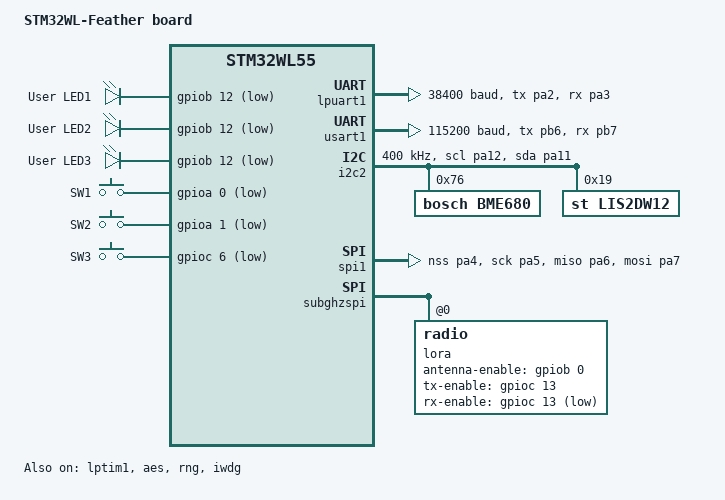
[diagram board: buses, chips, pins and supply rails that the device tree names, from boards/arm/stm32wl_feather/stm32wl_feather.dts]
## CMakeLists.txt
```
#
# Copyright 2021 PureEngineering, LLC
#

cmake_minimum_required(VERSION 3.13.1)
set (CMAKE_C_FLAGS "-fdiagnostics-color=always")

ADD_DEFINITIONS(-DNETWORK_CHANNEL=${NETWORK_CHANNEL})

# Re-direct the directory where the 'boards' directory is found from
# $ZEPHYR_BASE to this directory.
set(BOARD_ROOT ${CMAKE_CURRENT_LIST_DIR})

find_package(Zephyr HINTS $ENV{ZEPHYR_BASE})
project(wl55_demo)

FILE(GLOB_RECURSE app_sources
  src/*.c
)

target_include_directories(app PUBLIC ${CMAKE_CURRENT_SOURCE_DIR}/src/.)


target_sources(app PRIVATE ${app_sources}) 
```

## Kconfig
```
menu "STM32WL gateway firmware configuration"

config STM_GATEWAY_FW_VERSION_MAJOR
	int "STM32WL gateway firmware major version"
	default 1

config STM_GATEWAY_FW_VERSION_MINOR
	int "STM32WL gateway firmware minor version"
	default 0

config STM_GATEWAY_FW_VERSION_PATCH
	int "STM32WL gateway firmware patch version"
	default 0

endmenu

menu "Zephyr Kernel"
source "Kconfig.zephyr"
endmenu
```

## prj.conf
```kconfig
# CONFIG_SYSTEM_WORKQUEUE_STACK_SIZE=4096
# CONFIG_MAIN_STACK_SIZE=4096

CONFIG_SPI=y
CONFIG_GPIO=y
CONFIG_LORA=y
# CONFIG_I2C=y
CONFIG_PINCTRL=y
CONFIG_GPIO=y

CONFIG_LORA=y
CONFIG_LORA_SX12XX=y
CONFIG_PRINTK=y
CONFIG_REBOOT=y
CONFIG_NEWLIB_LIBC=y
CONFIG_NEWLIB_LIBC_FLOAT_PRINTF=y
CONFIG_SERIAL=y
CONFIG_UART_INTERRUPT_DRIVEN=y
CONFIG_STDOUT_CONSOLE=y
CONFIG_ENTROPY_GENERATOR=y
CONFIG_TEST_RANDOM_GENERATOR=y
CONFIG_MAIN_THREAD_PRIORITY=10

CONFIG_STM_GATEWAY_FW_VERSION_MAJOR=0
CONFIG_STM_GATEWAY_FW_VERSION_MINOR=1
CONFIG_STM_GATEWAY_FW_VERSION_PATCH=0

CONFIG_LOG=y
CONFIG_SENSOR=y
CONFIG_BME680=y
CONFIG_LIS2DW12=y
```

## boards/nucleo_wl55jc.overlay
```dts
/ {
	aliases {
		red-led = &green_led_3;
		green-led = &green_led_2;
		blue-led = &blue_led_1;
		system-led = &green_led_3;
		rpc-uart = &usart1;
		uart = &lpuart1;
	};
};

&usart1 {
	pinctrl-0 = <&usart1_tx_pb6 &usart1_rx_pb7>;
	pinctrl-names = "default";
	current-speed = <115200>;
	status = "okay";
};
```

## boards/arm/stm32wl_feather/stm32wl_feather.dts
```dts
/*
 * Copyright (c) 2021 PureEngineering, LLC
 *
 */

/dts-v1/;
#include <st/wl/stm32wl55Xc.dtsi>
#include <st/wl/stm32wl55ccux-pinctrl.dtsi>

/ {
	model = "STM32WL-Feather board";
	compatible = "st,stm32wl55-nucleo";

	chosen {
		zephyr,console = &usart1;
		zephyr,shell-uart = &usart1;
		zephyr,sram = &sram0;
		zephyr,flash = &flash0;
		zephyr,code-partition = &flash0;
	};

	leds {
		compatible = "gpio-leds";
		blue_led_1: led_0 {
			gpios = <&gpiob 12 GPIO_ACTIVE_LOW>;
			label = "User LED1";
		};
		green_led_2: led_1 {
			gpios = <&gpiob 12 GPIO_ACTIVE_LOW>;
			label = "User LED2";
		};
		green_led_3: led_2 {
			gpios = <&gpiob 12 GPIO_ACTIVE_LOW>;
			label = "User LED3";
		};
	};

	gpio_keys {
		compatible = "gpio-keys";
		user_button_1: button_0 {
			label = "SW1";
			gpios = <&gpioa 0 (GPIO_ACTIVE_LOW | GPIO_PULL_UP)>;
		};
		user_button_2: button_1 {
			label = "SW2";
			gpios = <&gpioa 1 (GPIO_ACTIVE_LOW | GPIO_PULL_UP)>;
		};
		user_button_3: button_2 {
			label = "SW3";
			gpios = <&gpioc 6 (GPIO_ACTIVE_LOW | GPIO_PULL_UP)>;
		};
	};

	aliases {
		led0 = &green_led_2;
		system-led = &green_led_2;
		sw0 = &user_button_1;
		sw1 = &user_button_2;
		sw2 = &user_button_3;
		lora0 = &lora;
		uart = &usart1;
	};

	power-states {
		stop0: state0 {
			compatible = "zephyr,power-state";
			power-state-name = "suspend-to-idle";
			substate-id = <1>;
			min-residency-us = <100>;
		};
		stop1: state1 {
			compatible = "zephyr,power-state";
			power-state-name = "suspend-to-idle";
			substate-id = <2>;
			min-residency-us = <500>;
		};
		stop2: state2 {
			compatible = "zephyr,power-state";
			power-state-name = "suspend-to-idle";
			substate-id = <3>;
			min-residency-us = <900>;
		};
	};
};

&cpu0 {
	cpu-power-states = <&stop0 &stop1 &stop2>;
};

&lptim1 {
	status = "okay";
};

&clk_hsi {
	status = "okay";
};

&pll {
	div-m = <1>;
	mul-n = <6>;
	div-r = <2>;
	div-q = <2>;
	clocks = <&clk_hsi>;
	status = "okay";
};

&rcc {
	clocks = <&pll>;
	clock-frequency = <DT_FREQ_M(48)>;
	cpu1-prescaler = <1>;
	cpu2-prescaler = <1>;
	ahb3-prescaler = <1>;
	apb1-prescaler = <1>;
	apb2-prescaler = <1>;
};

&lpuart1 {
	pinctrl-0 = <&lpuart1_tx_pa2 &lpuart1_rx_pa3>;
	pinctrl-names = "default";
	current-speed = <38400>;
	status = "okay";
};

&usart1 {
	pinctrl-0 = <&usart1_tx_pb6 &usart1_rx_pb7>;
	pinctrl-names = "default";
	current-speed = <115200>;
	status = "okay";
};

&i2c2 {
	pinctrl-0 = <&i2c2_scl_pa12 &i2c2_sda_pa11>;
	pinctrl-names = "default";
	status = "okay";
	clock-frequency = <I2C_BITRATE_FAST>;

	bme680: bme680@76 {
		compatible = "bosch,bme680";
		reg = <0x76>;
		label = "BME680";
		status = "okay";
	};
	lis2dw12: lis2dw12@19 {
		compatible = "st,lis2dw12";
		reg = <0x19>;
		label = "LIS2DW12";
		status = "okay";
	};

};

&spi1 {
	pinctrl-0 = <&spi1_nss_pa4 &spi1_sck_pa5
		     &spi1_miso_pa6 &spi1_mosi_pa7>;
	pinctrl-names = "default";
	status = "okay";
};

// &adc1 {
// 	status = "okay";
// };

// &die_temp {
// 	status = "okay";
// };

&aes {
	status = "okay";
};

&rng {
	status = "okay";
};

&iwdg {
	status = "okay";
};

&subghzspi {
	status = "okay";
	lora: radio@0 {
		status = "okay";
		antenna-enable-gpios = <&gpiob 0 GPIO_ACTIVE_HIGH>;
		tx-enable-gpios = <&gpioc 13 GPIO_ACTIVE_HIGH>;
		rx-enable-gpios = <&gpioc 13 GPIO_ACTIVE_LOW>;
		// dio3-tcxo-voltage = <SX126X_DIO3_TCXO_1V7>;
		// tcxo-power-startup-delay-ms = <5>;
	};
};

&flash0 {
	/*
	 * For more information, see:
	 * http://docs.zephyrproject.org/latest/guides/dts/index.html#flash-partitions
	 */
	partitions {
		compatible = "fixed-partitions";
		#address-cells = <1>;
		#size-cells = <1>;

		/*
		 * Set 16kB of storage (8x2kB pages) at the end of the 256kB of
		 * flash.
		 */
		storage_partition: partition@3c000 {
			label = "storage";
			reg = <0x0003c000 0x00004000>;
		};
	};
};
```

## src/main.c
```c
/*
 * Copyright (c) 2023 PureEngineering, LLC
 */

#include <stdio.h>
#include <stdlib.h>
#include <string.h>
#include <zephyr/kernel.h>
#include <zephyr/device.h>
#include <zephyr/drivers/uart.h>
#include <zephyr/drivers/lora.h>
#include <zephyr/drivers/gpio.h>
#include <zephyr/drivers/sensor.h>

#include "uart_driver.h"

#define MAX_LORA_DATA_LEN (255)
#define lora_thread_STACK_SIZE 2048
#define lora_thread_PRIORITY 7

#define LORA_RSSI_CLEAR_THRESHOLD -90
#define LORA_MAX_CTS_CHECK_MS 1000
#define LORA_MAX_WAIT_TX_DONE_MS 10000
#define LORA_MAX_POLL_TIME_MS 1000

#define LORA_FREQ 915100000


const struct gpio_dt_spec system_led = GPIO_DT_SPEC_GET_OR(DT_ALIAS(system_led), gpios, {0});
const struct device *uart_dev = DEVICE_DT_GET(DT_ALIAS(uart));
const struct device *lora_dev = DEVICE_DT_GET(DT_ALIAS(lora0));
static uart_struct uart_ctx;

static uint8_t uart_rx_buf[1024];
static uint8_t uart_tx_buf[1024];

// Simple queue to buffer messages that need to send
typedef struct
{
	uint8_t data[MAX_LORA_DATA_LEN];
	int length;
} lora_data_t;

typedef struct
{
	unsigned char *q;		  /* pointer to queue buffer*/
	volatile int read_index;  /* index used for reading */
	volatile int write_index; /* index used for writing */
	int p_size;				  /* size of index in queue */
	int size;				  /* max number of indexes */
} lora_queue_t;

void lora_queue_init(lora_queue_t *q, int queue_field_size, unsigned char queue_size)
{
	q->read_index = 0;
	q->write_index = 0;
	q->size = queue_size;
	q->p_size = queue_field_size;
	q->q = malloc(queue_field_size * queue_size);
}

int lora_queue_put(lora_queue_t *q, void *p)
{
	int nextindex = (q->write_index + 1) % q->size;
	if (nextindex != q->read_index)
	{
		int offset = nextindex * q->p_size;
		memcpy(q->q + offset, p, q->p_size);
		q->write_index = nextindex;
		return 1;
	}
	else
	{
		return 0; // queue is full
	}
}

int lora_queue_get(lora_queue_t *q, void *p)
{
	if (q->read_index == q->write_index)
	{
		return 0; // queue is empty
	}
	int nextindex = (q->read_index + 1) % q->size;
	int offset = nextindex * q->p_size;
	memcpy(p, q->q + offset, q->p_size);
	q->read_index = nextindex;
	return 1;
}

lora_queue_t lora_queue;

///

K_THREAD_STACK_DEFINE(lora_thread_stack_area, lora_thread_STACK_SIZE);
struct k_thread lora_thread_data;

int16_t lora_rssi = 0;

int lora_configure(uint32_t frequency)
{
	struct lora_modem_config config;
	int ret;
	/* Configure LoRa device */
	lora_dev = DEVICE_DT_GET(DT_ALIAS(lora0));
	if (!device_is_ready(lora_dev))
	{
		printk("%s Device not found\n", lora_dev->name);
		return -EIO;
	}
	else
	{
		config.frequency = frequency;
		config.bandwidth = BW_500_KHZ;
		config.datarate = SF_10;
		config.preamble_len = 32;
		config.coding_rate = CR_4_5;
		config.tx_power = 16;
		config.tx = true;
		ret = lora_config(lora_dev, &config);
		if (ret < 0)
		{
			printk("LoRa config failed %d\n", ret);
			return -EIO;
		}
		else
		{
			printk("LoRa config success\n");
		}
	}
	
	return 0;
}

int lora_rx_state = 0;

void lora_thread(void *unused1, void *unused2, void *unused3)
{
	printk("Started lora_thread\n");


	lora_data_t lora_data;
	int16_t rssi;
	int8_t snr;

	lora_configure(LORA_FREQ);

	lora_send(lora_dev, "hello lora world\n", 16);

	while (1)
	{
		k_yield();

		int length = 0;
		lora_rx_state = 1;
		if ((length = lora_recv(lora_dev, lora_data.data, MAX_LORA_DATA_LEN, K_MSEC(LORA_MAX_POLL_TIME_MS), &rssi, &snr)) > 0)
		{
			lora_data.length = length;
			gpio_pin_set(system_led.port, system_led.pin, 1);
			for (int i = 0; i < length; i++)
			{
				uart_poll_out(uart_dev, lora_data.data[i]);
			}
			gpio_pin_set(system_led.port, system_led.pin, 0);
		}

		lora_rx_state = 0;

		while (lora_queue_get(&lora_queue, &lora_data))
		{
			lora_send(lora_dev, lora_data.data, lora_data.length);
		}
	}
}


    
#define BME680_DEV_NAME DT_LABEL(DT_INST(0, bosch_bme680))

void main(void)
{
	uint8_t byte;

	printk("*********************************\n");
	printk("**       STM32WL LoRa demo     **\n");
	printk("*********************************\n");
	printk("COMPILE DATE/TIME %s %s\n", __DATE__, __TIME__);
	const struct device *bme = device_get_binding(BME680_DEV_NAME);
	const struct device *acc = device_get_binding(DT_LABEL(DT_INST(0, st_lis2dw12)));
	if(device_is_ready(bme)){
		struct sensor_value temp, hum, pres;
		sensor_sample_fetch(bme);
		sensor_channel_get(bme, SENSOR_CHAN_AMBIENT_TEMP, &temp);
		sensor_channel_get(bme, SENSOR_CHAN_HUMIDITY, &hum);
		sensor_channel_get(bme, SENSOR_CHAN_PRESS, &pres);		
		printk("Temperature: %d.%03d\n", temp.val1, temp.val2);
		printk("Humidity: %d.%03d\n", hum.val1, hum.val2);
		printk("Pressure: %d.%03d\n", pres.val1, pres.val2);
	}

	if(device_is_ready(acc)){
		struct sensor_value acc_x, acc_y, acc_z;
		sensor_sample_fetch(acc);
		sensor_channel_get(acc, SENSOR_CHAN_ACCEL_X, &acc_x);
		sensor_channel_get(acc, SENSOR_CHAN_ACCEL_Y, &acc_y);
		sensor_channel_get(acc, SENSOR_CHAN_ACCEL_Z, &acc_z);
		printk("Acceleration X: %d.%03d\n", acc_x.val1, acc_x.val2);
		printk("Acceleration Y: %d.%03d\n", acc_y.val1, acc_y.val2);
		printk("Acceleration Z: %d.%03d\n", acc_z.val1, acc_z.val2);
	}
	
	lora_data_t lora_data;

	lora_queue_init(&lora_queue, sizeof(lora_data_t), 10);

	/* Configure system-led */
	gpio_pin_configure_dt(&system_led, GPIO_OUTPUT_INACTIVE);


	/* Test LED blink */
	for (int i = 0; i < 3; i++)
	{
		gpio_pin_set(system_led.port, system_led.pin, 1);
		k_msleep(100);
		gpio_pin_set(system_led.port, system_led.pin, 0);
		
		k_msleep(10);
	}

	/* Get UART device */
	if (!device_is_ready(uart_dev))
	{
		printk("Could not find %s device\n", uart_dev->name);
	}

	init_uart_driver(&uart_ctx, uart_dev, uart_tx_buf, sizeof(uart_tx_buf), uart_rx_buf, sizeof(uart_rx_buf));

	/* Configure LoRa device */
	if (!device_is_ready(lora_dev))
	{
		printk("%s Device not found\n", lora_dev->name);
	}
	else
	{
		k_thread_create(&lora_thread_data, lora_thread_stack_area, K_THREAD_STACK_SIZEOF(lora_thread_stack_area), lora_thread, NULL, NULL, NULL, lora_thread_PRIORITY, 0, K_NO_WAIT);
	}

	while (1)
	{

		lora_data.length = 0;
		while (uart_getchar(&uart_ctx, &byte))
		{
			uart_poll_out(uart_dev, byte); // echo back to uart

			if ((lora_data.length + 1) < MAX_LORA_DATA_LEN)
			{
				lora_data.data[lora_data.length] = byte;
				lora_data.length++;
			}
			else
			{
				break;
			}
		}

		if (lora_data.length > 0)
		{
			lora_queue_put(&lora_queue, &lora_data);
		}

		k_msleep(1);
	}
}
```

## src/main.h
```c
#ifndef _MAIN_H_
#define _MAIN_H_

#include "urpc.h"

extern urpc_ctx_t uart_urpc_ctx;

#endif
```

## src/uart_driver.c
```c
// #include <zephyr.h>
#include <zephyr/kernel.h>
#include <zephyr/device.h>
#include <zephyr/drivers/uart.h>
#include "uart_driver.h"


///start queue code
// this queue will allow one interrupt and one thread to work on it without a sem lock. 
void init_uart_queue(uart_queue *q,unsigned char* buffer, int size)
{
	q->read_index = 0;
	q->write_index = 0;
	q->size = size-1;
	q->q = buffer;
}

int put_uart_queue(uart_queue *q, unsigned char x)
{
	int nextindex = (q->write_index + 1) % q->size;
	if(nextindex != q->read_index)
	{
		q->q[q->write_index] = x;
		q->write_index = nextindex;

		return 1;
	}
	else
	{
		return 0; //queue is full
	}
}

int get_uart_queue(uart_queue *q,unsigned char *x)
{
	if(q->read_index == q->write_index)
	{
		return 0; //queue is empty
	}
	
	int nextindex = (q->read_index + 1) % q->size;
	*x = q->q[q->read_index];
	q->read_index = nextindex;

	return 1;
}

//note: not threadsafe
int put_uart_ringbuffer(uart_queue *q, unsigned char x)
{
	int nextindex = (q->write_index + 1) % q->size;
	while(nextindex == q->read_index)
	{
			//make room for the new data
			int nextreadindex = (q->read_index + 1) % q->size;
			q->read_index = nextreadindex;
	}

	q->q[q->write_index] = x;
	q->write_index = nextindex;

	return 1;
}
///end queue code

//start uart code

int uart_putchar(uart_struct *uart, uint8_t data)
{
	if(put_uart_queue(&uart->tx_queue,data))
	{
		uart_irq_tx_enable(uart->uart_dev);
		return 1;
	}
	return 0;
}

int uart_getchar(uart_struct *uart, uint8_t *data_ptr)
{
	return get_uart_queue(&uart->rx_queue,data_ptr);
}

void uart_cb(const struct device *dev, void *user_data)
{
	uart_struct *uart = user_data;
	uint8_t uartrx_buf[32];
	int uartrx_index = 0;

	uint8_t uarttx_buf[32];
	int uarttx_index =0;

	uart_irq_update(dev);

	if (uart_irq_rx_ready(dev)) 
	{
		uartrx_index = uart_fifo_read(dev, uartrx_buf, sizeof(uartrx_buf));

		if(uartrx_index)
		{
			uartrx_buf[uartrx_index] = 0;
			for(int i=0; i<uartrx_index;i++)
			{
				put_uart_queue(&uart->rx_queue,uartrx_buf[i]);
			}
		}
	}

	if (uart_irq_tx_ready(dev)) 
	{
		if(get_uart_queue(&uart->tx_queue,&uarttx_buf[0]))
		{
			uarttx_index = 1;

			//to reduce isr overhead, pull out more than 1 char to send out. 
			while(get_uart_queue(&uart->tx_queue,&uarttx_buf[uarttx_index]))
			{
				uarttx_index++;
				if(uarttx_index >=sizeof(uarttx_buf)) {  break; }
			}
		}

		if (uarttx_index >0)
		{
			uart_fifo_fill(dev, uarttx_buf, uarttx_index);
		} 
		else 
		{
			
			uart_irq_tx_disable(dev); // Output buffer empty, disable irq;
		}
	}
}
void init_uart_driver(uart_struct * uart, const struct device *uart_dev,
						uint8_t *tx_buffer, int tx_size,
						uint8_t *rx_buffer, int rx_size )
{
	uart->uart_dev = uart_dev;

	init_uart_queue(&uart->tx_queue,tx_buffer,tx_size);
	init_uart_queue(&uart->rx_queue,rx_buffer,rx_size);

	uart_irq_callback_user_data_set(uart_dev, uart_cb, uart);

	uart_irq_rx_enable(uart_dev);
}

void reset_uart_queues(uart_struct * uart )
{
	init_uart_queue(&uart->tx_queue,uart->tx_queue.q,uart->tx_queue.size);
	init_uart_queue(&uart->rx_queue,uart->rx_queue.q,uart->rx_queue.size);
}

static inline const struct uarte_nrfx_config *internal_get_dev_config(const struct device *dev)
{
	return dev->config;
}

void uart_set_power_state(uart_struct * uart,uint32_t new_state)
{
	const struct device *dev = uart->uart_dev;

	if(uart->uart_dev)
	{
		if(new_state == 1)
		{
			//uart_irq_tx_enable(dev);
			uart_irq_rx_enable(dev);
		}
		if(new_state == 0)
		{
			uart_irq_tx_disable(dev);
			uart_irq_rx_disable(dev);
		}
	}
}

void print_uart_state(uart_struct * uart)
{

	struct uart_config uart_cfg;
	int ret;

	const struct device *dev = uart->uart_dev;

	ret = uart_config_get(dev, &uart_cfg);
	if (ret == 0) 
	{
		printk("uart_config.baudrate=%d\n",  uart_cfg.baudrate);
		printk("uart_config.parity=%d\n",    uart_cfg.parity);
		printk("uart_config.stop_bits=%d\n", uart_cfg.stop_bits);
		printk("uart_config.data_bits=%d\n", uart_cfg.data_bits);
		printk("uart_config.flow_ctrl=%d\n", uart_cfg.flow_ctrl);
	} 
	else 
	{
		printk("uart_config_get() error\n");
	}
}

void uart_change_buad(uart_struct * uart,int newbaud)
{

	struct uart_config uart_cfg;
	int ret;

	const struct device *dev = uart->uart_dev;

	ret = uart_config_get(dev, &uart_cfg);

	uart_cfg.baudrate = newbaud;

	uart_configure(dev, &uart_cfg);

}

void uart_change_parity(uart_struct * uart, int parity)
{

	struct uart_config uart_cfg;
	int ret;

	const struct device *dev = uart->uart_dev;

	ret = uart_config_get(dev, &uart_cfg);

	uart_cfg.parity = parity;

	uart_configure(dev, &uart_cfg);
}
```

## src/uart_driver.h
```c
#ifndef UART_DRIVER_H
#define UART_DRIVER_H

typedef struct
{
	unsigned char *q;		/* pointer to queue buffer*/
	int read_index;         /* index used for reading */
	int write_index;        /* index used for writing */
	int size;			    /* size of queue */
} uart_queue;


void init_uart_queue(uart_queue *q,unsigned char* buffer, int size);
int put_uart_queue(uart_queue *q, unsigned char x);
int get_uart_queue(uart_queue *q,unsigned char *x);

typedef struct
{
	const struct device *uart_dev;

	uart_queue tx_queue;
	uart_queue rx_queue;

} uart_struct;


int uart_putchar(uart_struct *uart, uint8_t data);
int uart_getchar(uart_struct *uart, uint8_t *data_ptr);

void init_uart_driver(uart_struct * uart, const struct device *uart_dev,
						uint8_t *tx_buffer, int tx_size,
						uint8_t *rx_buffer, int rx_size );

void print_uart_state(uart_struct * uart);
void uart_change_buad(uart_struct * uart, int newbaud);
void uart_change_parity(uart_struct * uart, int parity);

void uart_set_power_state(uart_struct * uart,uint32_t new_state);

void reset_uart_queues(uart_struct * uart );



#endif
```
